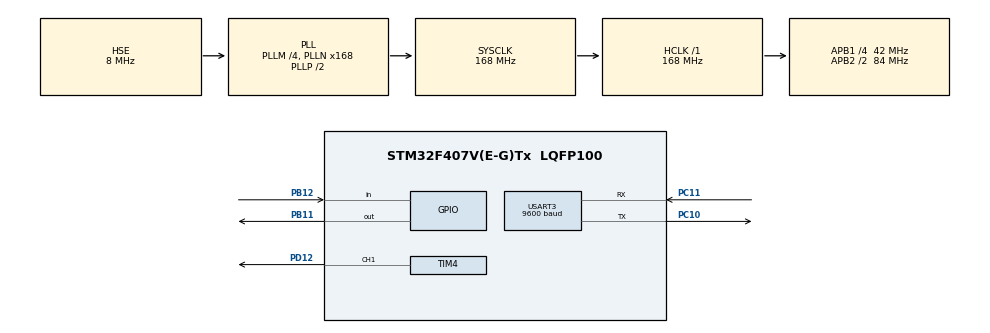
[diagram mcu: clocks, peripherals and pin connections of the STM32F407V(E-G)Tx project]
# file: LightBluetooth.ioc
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Mcu.Family=STM32F4
Mcu.Name=STM32F407V(E-G)Tx
Mcu.Package=LQFP100
NVIC.PriorityGroup=NVIC_PRIORITYGROUP_4
NVIC.TIM4_IRQn=true\:0\:0\:false\:false\:true\:true
NVIC.USART3_IRQn=true\:0\:0\:false\:false\:true\:true
PB11.GPIO_PuPd=GPIO_NOPULL
PB11.Signal=GPIO_Output
PB12.GPIO_PuPd=GPIO_PULLDOWN
PB12.Signal=GPIO_Input
PC10.Mode=Asynchronous
PC10.Signal=USART3_TX
PC11.Mode=Asynchronous
PC11.Signal=USART3_RX
PD12.Signal=S_TIM4_CH1
PH0-OSC_IN.Mode=HSE-External-Oscillator
PH0-OSC_IN.Signal=RCC_OSC_IN
PH1-OSC_OUT.Mode=HSE-External-Oscillator
PH1-OSC_OUT.Signal=RCC_OSC_OUT
ProjectManager.HeapSize=0x200
ProjectManager.StackSize=0x400
ProjectManager.TargetToolchain=SW4STM32
RCC.48MHZClocksFreq_Value=84000000
RCC.AHBFreq_Value=168000000
RCC.APB1CLKDivider=RCC_HCLK_DIV4
RCC.APB1Freq_Value=42000000
RCC.APB1TimFreq_Value=84000000
RCC.APB2CLKDivider=RCC_HCLK_DIV2
RCC.APB2Freq_Value=84000000
RCC.APB2TimFreq_Value=168000000
RCC.CortexFreq_Value=168000000
RCC.HCLKFreq_Value=168000000
RCC.HSE_VALUE=8000000
RCC.HSI_VALUE=16000000
RCC.LSE_VALUE=32768
RCC.PLLM=4
RCC.PLLN=168
RCC.PLLSourceVirtual=RCC_PLLSOURCE_HSE
RCC.SYSCLKFreq_VALUE=168000000
RCC.SYSCLKSource=RCC_SYSCLKSOURCE_PLLCLK
RCC.VCOOutputFreq_Value=336000000
SH.S_TIM4_CH1.0=TIM4_CH1,PWM Generation1 CH1
TIM4.Channel-PWM\ Generation1\ CH1=TIM_CHANNEL_1
TIM4.Period=999
TIM4.Prescaler=83
USART3.BaudRate=9600
USART3.VirtualMode=VM_ASYNC
VP_TIM4_VS_ClockSourceINT.Mode=Internal
board=custom

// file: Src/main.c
/**
  ******************************************************************************
  * @file           : main.c
  * @brief          : Main program body
  ******************************************************************************
  ** This notice applies to any and all portions of this file
  * that are not between comment pairs USER CODE BEGIN and
  * USER CODE END. Other portions of this file, whether
  * inserted by the user or by software development tools
  * are owned by their respective copyright owners.
  *
  * COPYRIGHT(c) 2019 STMicroelectronics
  *
  * Redistribution and use in source and binary forms, with or without modification,
  * are permitted provided that the following conditions are met:
  *   1. Redistributions of source code must retain the above copyright notice,
  *      this list of conditions and the following disclaimer.
  *   2. Redistributions in binary form must reproduce the above copyright notice,
  *      this list of conditions and the following disclaimer in the documentation
  *      and/or other materials provided with the distribution.
  *   3. Neither the name of STMicroelectronics nor the names of its contributors
  *      may be used to endorse or promote products derived from this software
  *      without specific prior written permission.
  *
  * THIS SOFTWARE IS PROVIDED BY THE COPYRIGHT HOLDERS AND CONTRIBUTORS "AS IS"
  * AND ANY EXPRESS OR IMPLIED WARRANTIES, INCLUDING, BUT NOT LIMITED TO, THE
  * IMPLIED WARRANTIES OF MERCHANTABILITY AND FITNESS FOR A PARTICULAR PURPOSE ARE
  * DISCLAIMED. IN NO EVENT SHALL THE COPYRIGHT HOLDER OR CONTRIBUTORS BE LIABLE
  * FOR ANY DIRECT, INDIRECT, INCIDENTAL, SPECIAL, EXEMPLARY, OR CONSEQUENTIAL
  * DAMAGES (INCLUDING, BUT NOT LIMITED TO, PROCUREMENT OF SUBSTITUTE GOODS OR
  * SERVICES; LOSS OF USE, DATA, OR PROFITS; OR BUSINESS INTERRUPTION) HOWEVER
  * CAUSED AND ON ANY THEORY OF LIABILITY, WHETHER IN CONTRACT, STRICT LIABILITY,
  * OR TORT (INCLUDING NEGLIGENCE OR OTHERWISE) ARISING IN ANY WAY OUT OF THE USE
  * OF THIS SOFTWARE, EVEN IF ADVISED OF THE POSSIBILITY OF SUCH DAMAGE.
  *
  ******************************************************************************
  */
#include "main.h"
#include "stm32f4xx_hal.h"

TIM_HandleTypeDef htim4;

UART_HandleTypeDef huart3;

/* USER CODE BEGIN PV */
/* Private variables ---------------------------------------------------------*/
uint8_t receiveUART[1];
uint16_t sizeReceiveUART = 1;
int on = -1;
uint8_t x;
int value =0, flaga =0;
/* USER CODE END PV */

void SystemClock_Config(void);
static void MX_GPIO_Init(void);
static void MX_USART3_UART_Init(void);
static void MX_TIM4_Init(void);
void HAL_TIM_MspPostInit(TIM_HandleTypeDef *htim);

/* USER CODE BEGIN PFP */
/* Private function prototypes -----------------------------------------------*/
void HAL_UART_RxCpltCallback(UART_HandleTypeDef *huart) {
	if(huart->Instance == USART3){

		x = receiveUART[0];
		// wlaczanie lampki (Bluetooth)
		if(x == 'O'){
			on = 0;
		}
		// wylaczanie lampki(Bluetooth)
		else if(x == 'F'){
			on = 1;

		}
		// wlaczanie czujnika ruchu (Bluetooth)
		else if(x == 'R'){
			on=2;
		}
		// wylaczanie czujnika ruchu (Bluetooth)
		else if(x == 'Z'){
			on=3;
		}
		HAL_UART_Receive_IT(&huart3, receiveUART, sizeReceiveUART);

	}
}

void HAL_TIM_PeriodElapsedCallback(TIM_HandleTypeDef *htim) {
	if (htim->Instance == TIM4) {

		// petla umozliwiajaca zapalenie i gaszenie lampki LED
		if (value <= 0) {
			flaga = 1;
		}

		if (value >= 1000) {
			flaga = 0;
		}

		switch (flaga) {
		case 0:
			value--;
			break;
		case 1:
			value++;
			break;
		}
		TIM4->CCR1 = value;
	}

}
/* USER CODE END PFP */

int main(void)
{

  /* MCU Configuration----------------------------------------------------------*/

  /* Reset of all peripherals, Initializes the Flash interface and the Systick. */
  HAL_Init();

  /* Configure the system clock */
  SystemClock_Config();

  /* Initialize all configured peripherals */
  MX_GPIO_Init();
  MX_USART3_UART_Init();
  MX_TIM4_Init();
  /* USER CODE BEGIN 2 */
  HAL_UART_Receive_IT(&huart3, receiveUART, sizeReceiveUART);
	HAL_TIM_Base_Start_IT(&htim4);
	HAL_TIM_PWM_Start(&htim4, TIM_CHANNEL_1);
  /* USER CODE END 2 */

  /* Infinite loop */
  /* USER CODE BEGIN WHILE */
  while (1)
  {

	  switch(on){
	  case 0:
		  HAL_GPIO_WritePin(GPIOB, GPIO_PIN_11, GPIO_PIN_RESET);
		  break;
	  case 1:
		  HAL_GPIO_WritePin(GPIOB, GPIO_PIN_11, GPIO_PIN_SET);
		  break;
	  case 2:
	  {
		  int odp = HAL_GPIO_ReadPin(GPIOB, GPIO_PIN_12);

		  	  switch(odp){
		  	  case 0:{
		  		  HAL_GPIO_WritePin(GPIOB, GPIO_PIN_11, GPIO_PIN_SET);

		  	  }
		  	  break;
		  	  case 1:{
		  	      HAL_GPIO_WritePin(GPIOB, GPIO_PIN_11, GPIO_PIN_RESET);

		  	  }
		  	  break;
		  	  }
	  }
	  break;
	  case 3:
		  HAL_GPIO_WritePin(GPIOB, GPIO_PIN_12, 0);
	  }

  /* USER CODE END WHILE */

  }

}

void SystemClock_Config(void)
{

  RCC_OscInitTypeDef RCC_OscInitStruct;
  RCC_ClkInitTypeDef RCC_ClkInitStruct;

    /**Configure the main internal regulator output voltage
    */
  __HAL_RCC_PWR_CLK_ENABLE();

  __HAL_PWR_VOLTAGESCALING_CONFIG(PWR_REGULATOR_VOLTAGE_SCALE1);

    /**Initializes the CPU, AHB and APB busses clocks
    */
  RCC_OscInitStruct.OscillatorType = RCC_OSCILLATORTYPE_HSE;
  RCC_OscInitStruct.HSEState = RCC_HSE_ON;
  RCC_OscInitStruct.PLL.PLLState = RCC_PLL_ON;
  RCC_OscInitStruct.PLL.PLLSource = RCC_PLLSOURCE_HSE;
  RCC_OscInitStruct.PLL.PLLM = 4;
  RCC_OscInitStruct.PLL.PLLN = 168;
  RCC_OscInitStruct.PLL.PLLP = RCC_PLLP_DIV2;
  RCC_OscInitStruct.PLL.PLLQ = 4;
  if (HAL_RCC_OscConfig(&RCC_OscInitStruct) != HAL_OK)
  {
    _Error_Handler(__FILE__, __LINE__);
  }

    /**Initializes the CPU, AHB and APB busses clocks
    */
  RCC_ClkInitStruct.ClockType = RCC_CLOCKTYPE_HCLK|RCC_CLOCKTYPE_SYSCLK
                              |RCC_CLOCKTYPE_PCLK1|RCC_CLOCKTYPE_PCLK2;
  RCC_ClkInitStruct.SYSCLKSource = RCC_SYSCLKSOURCE_PLLCLK;
  RCC_ClkInitStruct.AHBCLKDivider = RCC_SYSCLK_DIV1;
  RCC_ClkInitStruct.APB1CLKDivider = RCC_HCLK_DIV4;
  RCC_ClkInitStruct.APB2CLKDivider = RCC_HCLK_DIV2;

  if (HAL_RCC_ClockConfig(&RCC_ClkInitStruct, FLASH_LATENCY_5) != HAL_OK)
  {
    _Error_Handler(__FILE__, __LINE__);
  }

    /**Configure the Systick interrupt time
    */
  HAL_SYSTICK_Config(HAL_RCC_GetHCLKFreq()/1000);

    /**Configure the Systick
    */
  HAL_SYSTICK_CLKSourceConfig(SYSTICK_CLKSOURCE_HCLK);

  /* SysTick_IRQn interrupt configuration */
  HAL_NVIC_SetPriority(SysTick_IRQn, 0, 0);
}

/* TIM4 init function */
static void MX_TIM4_Init(void)
{

  TIM_ClockConfigTypeDef sClockSourceConfig;
  TIM_MasterConfigTypeDef sMasterConfig;
  TIM_OC_InitTypeDef sConfigOC;

  htim4.Instance = TIM4;
  htim4.Init.Prescaler = 83;
  htim4.Init.CounterMode = TIM_COUNTERMODE_UP;
  htim4.Init.Period = 999;
  htim4.Init.ClockDivision = TIM_CLOCKDIVISION_DIV1;
  if (HAL_TIM_Base_Init(&htim4) != HAL_OK)
  {
    _Error_Handler(__FILE__, __LINE__);
  }

  sClockSourceConfig.ClockSource = TIM_CLOCKSOURCE_INTERNAL;
  if (HAL_TIM_ConfigClockSource(&htim4, &sClockSourceConfig) != HAL_OK)
  {
    _Error_Handler(__FILE__, __LINE__);
  }

  if (HAL_TIM_PWM_Init(&htim4) != HAL_OK)
  {
    _Error_Handler(__FILE__, __LINE__);
  }

  sMasterConfig.MasterOutputTrigger = TIM_TRGO_RESET;
  sMasterConfig.MasterSlaveMode = TIM_MASTERSLAVEMODE_DISABLE;
  if (HAL_TIMEx_MasterConfigSynchronization(&htim4, &sMasterConfig) != HAL_OK)
  {
    _Error_Handler(__FILE__, __LINE__);
  }

  sConfigOC.OCMode = TIM_OCMODE_PWM1;
  sConfigOC.Pulse = 0;
  sConfigOC.OCPolarity = TIM_OCPOLARITY_HIGH;
  sConfigOC.OCFastMode = TIM_OCFAST_DISABLE;
  if (HAL_TIM_PWM_ConfigChannel(&htim4, &sConfigOC, TIM_CHANNEL_1) != HAL_OK)
  {
    _Error_Handler(__FILE__, __LINE__);
  }

  HAL_TIM_MspPostInit(&htim4);

}

/* USART3 init function */
static void MX_USART3_UART_Init(void)
{

  huart3.Instance = USART3;
  huart3.Init.BaudRate = 9600;
  huart3.Init.WordLength = UART_WORDLENGTH_8B;
  huart3.Init.StopBits = UART_STOPBITS_1;
  huart3.Init.Parity = UART_PARITY_NONE;
  huart3.Init.Mode = UART_MODE_TX_RX;
  huart3.Init.HwFlowCtl = UART_HWCONTROL_NONE;
  huart3.Init.OverSampling = UART_OVERSAMPLING_16;
  if (HAL_UART_Init(&huart3) != HAL_OK)
  {
    _Error_Handler(__FILE__, __LINE__);
  }

}

/** Configure pins as
        * Analog
        * Input
        * Output
        * EVENT_OUT
        * EXTI
*/
static void MX_GPIO_Init(void)
{

  GPIO_InitTypeDef GPIO_InitStruct;

  /* GPIO Ports Clock Enable */
  __HAL_RCC_GPIOH_CLK_ENABLE();
  __HAL_RCC_GPIOB_CLK_ENABLE();
  __HAL_RCC_GPIOD_CLK_ENABLE();
  __HAL_RCC_GPIOC_CLK_ENABLE();

  /*Configure GPIO pin Output Level */
  HAL_GPIO_WritePin(GPIOB, GPIO_PIN_11, GPIO_PIN_RESET);

  /*Configure GPIO pin : PB11 */
  GPIO_InitStruct.Pin = GPIO_PIN_11;
  GPIO_InitStruct.Mode = GPIO_MODE_OUTPUT_PP;
  GPIO_InitStruct.Pull = GPIO_NOPULL;
  GPIO_InitStruct.Speed = GPIO_SPEED_FREQ_LOW;
  HAL_GPIO_Init(GPIOB, &GPIO_InitStruct);

  /*Configure GPIO pin : PB12 */
  GPIO_InitStruct.Pin = GPIO_PIN_12;
  GPIO_InitStruct.Mode = GPIO_MODE_INPUT;
  GPIO_InitStruct.Pull = GPIO_PULLDOWN;
  HAL_GPIO_Init(GPIOB, &GPIO_InitStruct);

}

void _Error_Handler(char *file, int line)
{
  while(1)
  {
  }
}

/************************ (C) COPYRIGHT STMicroelectronics *****END OF FILE****/
